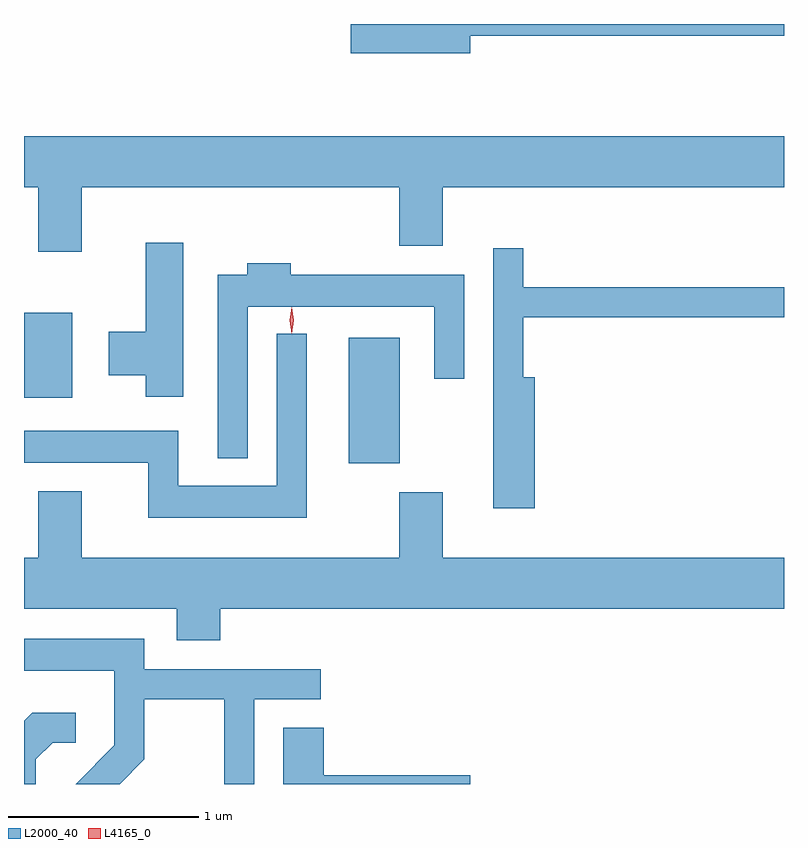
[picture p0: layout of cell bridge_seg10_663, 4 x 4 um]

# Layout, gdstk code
import gdstk
lib = gdstk.Library(unit=1e-6, precision=1e-09)
def R(c, l, rs):  # rectangles x0, y0, x1, y1
    for r in rs: c.add(gdstk.rectangle(r[:2], r[2:], *l))
def P(c, l, *ps):  # polygons
    for p in ps: c.add(gdstk.Polygon(p, *l))
L2000_40 = (2000, 40)
L4165_0 = (4165, 0)

bridge_seg10_663 = lib.new_cell('bridge_seg10_663')
R(bridge_seg10_663, L2000_40, [(1025.186,2114.681,1025.454,2115.344), (1023.476,2115.026,1023.729,2115.474)])
P(bridge_seg10_663, L2000_40, [(1025.824,2116.931),(1027.476,2116.931),(1027.476,2116.994),(1025.196,2116.994),(1025.196,2116.841),(1025.824,2116.841)],
  [(1023.779,2116.136),(1025.451,2116.136),(1025.451,2115.826),(1025.679,2115.826),(1025.679,2116.136),(1027.476,2116.136),(1027.476,2116.404),(1023.476,2116.404),(1023.476,2116.136),(1023.551,2116.136),(1023.551,2115.796),(1023.779,2115.796)],
  [(1024.314,2115.844),(1024.116,2115.844),(1024.116,2115.374),(1023.921,2115.374),(1023.921,2115.146),(1024.116,2115.146),(1024.116,2115.031),(1024.314,2115.031)],
  [(1026.164,2115.134),(1026.104,2115.134),(1026.104,2115.451),(1027.476,2115.451),(1027.476,2115.609),(1026.104,2115.609),(1026.104,2115.813),(1025.946,2115.813),(1025.946,2114.446),(1026.164,2114.446)],
  [(1024.654,2115.506),(1025.636,2115.506),(1025.636,2115.128),(1025.794,2115.128),(1025.794,2115.674),(1024.879,2115.674),(1024.879,2115.734),(1024.651,2115.734),(1024.651,2115.674),(1024.496,2115.674),(1024.496,2114.708),(1024.654,2114.708)],
  [(1024.964,2115.363),(1024.806,2115.363),(1024.806,2114.564),(1024.289,2114.564),(1024.289,2114.854),(1023.476,2114.854),(1023.476,2114.686),(1024.131,2114.686),(1024.131,2114.396),(1024.964,2114.396)],
  [(1024.509,2113.916),(1027.476,2113.916),(1027.476,2114.184),(1025.679,2114.184),(1025.679,2114.529),(1025.451,2114.529),(1025.451,2114.184),(1023.779,2114.184),(1023.779,2114.534),(1023.551,2114.534),(1023.551,2114.184),(1023.476,2114.184),(1023.476,2113.916),(1024.281,2113.916),(1024.281,2113.751),(1024.509,2113.751)],
  [(1024.109,2113.124),(1024.109,2113.441),(1024.531,2113.441),(1024.531,2112.994),(1024.689,2112.994),(1024.689,2113.441),(1025.037,2113.441),(1025.037,2113.599),(1024.109,2113.599),(1024.109,2113.759),(1023.476,2113.759),(1023.476,2113.591),(1023.951,2113.591),(1023.951,2113.197),(1023.748,2112.994),(1023.979,2112.994)],
  [(1023.539,2113.124),(1023.627,2113.211),(1023.748,2113.211),(1023.748,2113.369),(1023.519,2113.369),(1023.476,2113.326),(1023.476,2112.994),(1023.539,2112.994)],
  [(1025.824,2113.039),(1025.054,2113.039),(1025.054,2113.289),(1024.841,2113.289),(1024.841,2112.994),(1025.824,2112.994)])
P(bridge_seg10_663, L4165_0, [(1024.886,2115.367),(1024.886,2115.367),(1024.876,2115.434),(1024.886,2115.5),(1024.886,2115.501),(1024.886,2115.5),(1024.896,2115.434),(1024.886,2115.367)],
  [(1024.884,2115.364),(1024.875,2115.434),(1024.884,2115.503),(1024.885,2115.503),(1024.885,2115.503),(1024.895,2115.434),(1024.885,2115.364),(1024.885,2115.364)])

lib.write_gds('bridge_seg10_663.gds')
